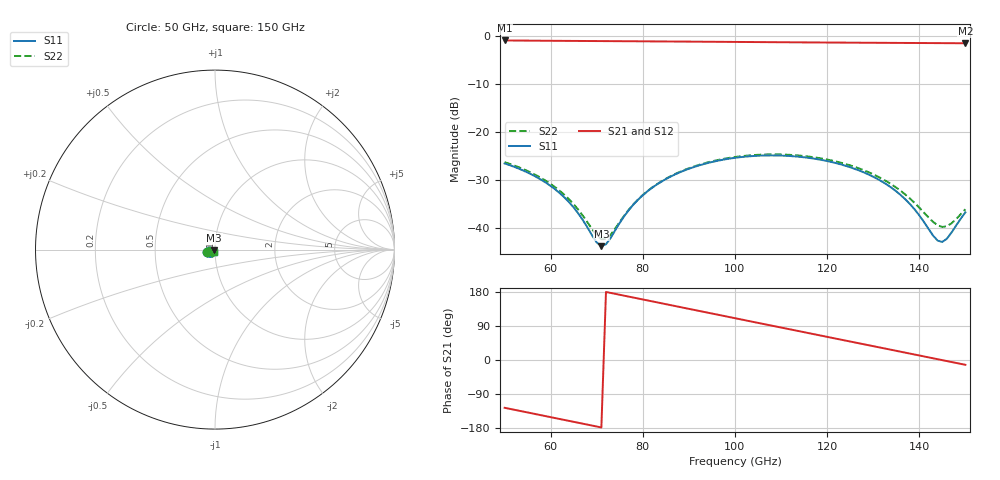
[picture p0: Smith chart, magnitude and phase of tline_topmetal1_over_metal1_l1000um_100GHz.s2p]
#  GHZ S DB R 50
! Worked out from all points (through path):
!   101 points, 50 GHz to 150 GHz, reference 50 ohm
!   highest |S21| = -0.94 dB at 50 GHz (marker M1); lowest = -1.5 dB at 150 GHz (marker M2)
!   group delay of S21, straight-line fit = 6.85 ps
!   lowest |S11| = -43.9 dB at 71 GHz (marker M3), VSWR 1.01, Z = 49.5 - j0.364 ohm
!   |S11| at or under -10 dB: start of sweep to end of sweep
!   |S22| runs from -42.4 to -24.7 dB; largest |S21 - S12| = 1e-13
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50  -26.62 -164.2  -0.94 -126.1  -0.94 -126.1  -26.37 -162.8
55  -28.52 -176.8  -0.98 -138.5  -0.98 -138.5  -28.21 -175.0
60  -31.33 172.7  -1.01 -150.8  -1.01 -150.8  -30.92 175.0
64  -34.73 168.3  -1.04 -160.7  -1.04 -160.7  -34.13 171.1
67  -38.47 172.0  -1.05 -168.1  -1.05 -168.1  -37.56 174.9
70  -43.13 -162.4  -1.07 -175.5  -1.07 -175.5  -41.65 -163.1
71  -43.90 -144.9  -1.08 -178.0  -1.08 -178.0  -42.45 -148.6
72  -43.50 -126.4  -1.08 179.5  -1.08 179.5  -42.40 -132.5
73  -42.20 -111.8  -1.09 177.0  -1.09 177.0  -41.53 -118.3
78  -35.16 -91.4  -1.11 164.7  -1.11 164.7  -35.11 -93.8
84  -30.44 -98.1  -1.15 149.8  -1.15 149.8  -30.37 -98.4
91  -27.40 -112.5  -1.19 132.5  -1.19 132.5  -27.29 -111.8
100  -25.45 -133.3  -1.25 110.3  -1.25 110.3  -25.28 -131.8
108  -24.95 -152.2  -1.30 90.6  -1.30 90.6  -24.74 -150.0
117  -25.60 -173.1  -1.36 68.5  -1.36 68.5  -25.32 -170.1
126  -27.76 167.3  -1.41 46.3  -1.41 46.3  -27.35 171.7
134  -31.73 153.8  -1.45 26.7  -1.45 26.7  -31.02 160.2
138  -35.13 152.1  -1.47 16.8  -1.47 16.8  -33.98 160.1
144  -42.75 -170.7  -1.50 2.1  -1.50 2.1  -39.56 -170.2
145  -43.01 -153.8  -1.50 -0.4  -1.50 -0.4  -39.88 -159.2
146  -42.32 -138.0  -1.51 -2.9  -1.51 -2.9  -39.72 -147.8
150  -36.84 -109.9  -1.53 -12.7  -1.53 -12.7  -36.18 -119.3
